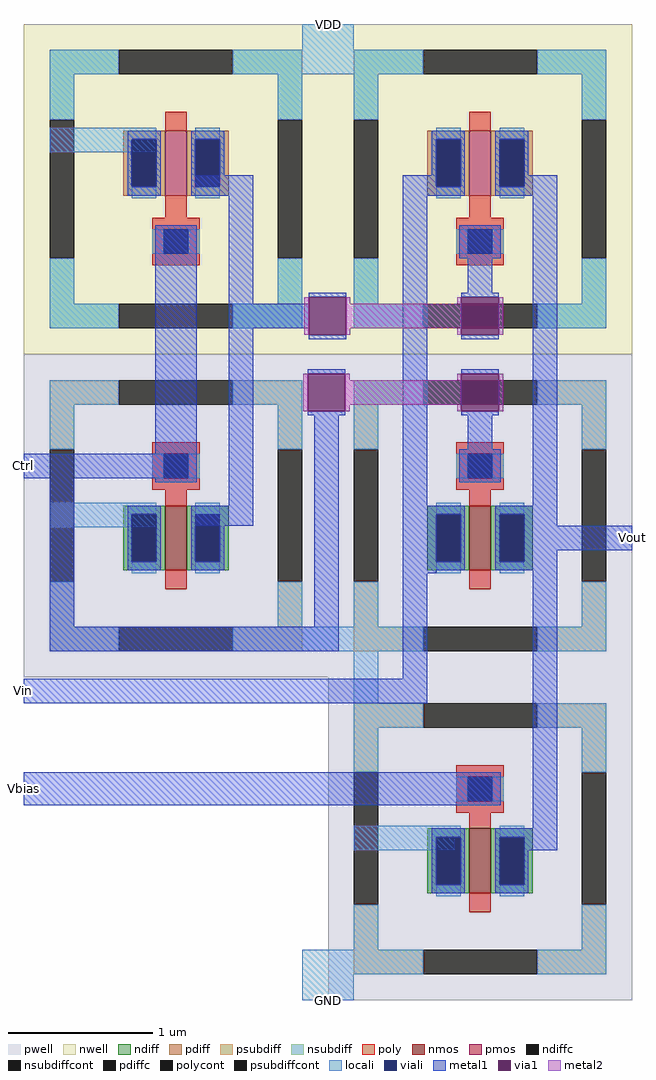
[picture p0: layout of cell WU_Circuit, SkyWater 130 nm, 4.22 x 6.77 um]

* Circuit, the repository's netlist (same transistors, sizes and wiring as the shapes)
** sch_path: /home/ricardo/RATT_repos/Proyectos_xschem/SNN/WU_Circuit.sch
**.subckt WU_Circuit GND VDD Vout Ctrl Vin Vbias
*.iopin GND
*.iopin VDD
*.opin Vout
*.ipin Ctrl
*.ipin Vin
*.ipin Vbias
XM1 Vout net1 Vin VDD sky130_fd_pr__pfet_01v8 L=0.15 W=0.45 nf=1 ad='int((nf+1)/2) * W/nf * 0.29' as='int((nf+2)/2) * W/nf * 0.29'
+ pd='2*int((nf+1)/2) * (W/nf + 0.29)' ps='2*int((nf+2)/2) * (W/nf + 0.29)' nrd='0.29 / W' nrs='0.29 / W'
+ sa=0 sb=0 sd=0 mult=1 m=1
XM2 Vin Ctrl Vout GND sky130_fd_pr__nfet_01v8 L=0.15 W=0.45 nf=1 ad='int((nf+1)/2) * W/nf * 0.29' as='int((nf+2)/2) * W/nf * 0.29'
+ pd='2*int((nf+1)/2) * (W/nf + 0.29)' ps='2*int((nf+2)/2) * (W/nf + 0.29)' nrd='0.29 / W' nrs='0.29 / W'
+ sa=0 sb=0 sd=0 mult=1 m=1
XM3 net1 Ctrl VDD VDD sky130_fd_pr__pfet_01v8 L=0.15 W=0.45 nf=1 ad='int((nf+1)/2) * W/nf * 0.29' as='int((nf+2)/2) * W/nf * 0.29'
+ pd='2*int((nf+1)/2) * (W/nf + 0.29)' ps='2*int((nf+2)/2) * (W/nf + 0.29)' nrd='0.29 / W' nrs='0.29 / W'
+ sa=0 sb=0 sd=0 mult=1 m=1
XM4 net1 Ctrl GND GND sky130_fd_pr__nfet_01v8 L=0.15 W=0.45 nf=1 ad='int((nf+1)/2) * W/nf * 0.29' as='int((nf+2)/2) * W/nf * 0.29'
+ pd='2*int((nf+1)/2) * (W/nf + 0.29)' ps='2*int((nf+2)/2) * (W/nf + 0.29)' nrd='0.29 / W' nrs='0.29 / W'
+ sa=0 sb=0 sd=0 mult=1 m=1
XM5 Vout Vbias GND GND sky130_fd_pr__nfet_01v8 L=0.15 W=0.45 nf=1 ad='int((nf+1)/2) * W/nf * 0.29' as='int((nf+2)/2) * W/nf * 0.29'
+ pd='2*int((nf+1)/2) * (W/nf + 0.29)' ps='2*int((nf+2)/2) * (W/nf + 0.29)' nrd='0.29 / W' nrs='0.29 / W'
+ sa=0 sb=0 sd=0 mult=1 m=1
**.ends
.end

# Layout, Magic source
magic
tech sky130A
magscale 1 2
<< locali >>
rect 236 1372 308 1408
rect 202 1338 342 1372
rect -114 1230 34 1264
rect -114 710 34 744
rect 202 538 342 572
rect 308 432 342 538
rect 308 262 448 296
rect 236 54 308 124
<< metal1 >>
rect 88 1170 168 1198
rect 32 812 90 1129
rect -150 778 90 812
rect -114 572 -80 778
rect 32 772 90 778
rect 134 1020 168 1170
rect 376 1170 422 1198
rect 544 1170 590 1198
rect 245 1029 297 1035
rect 134 986 245 1020
rect 134 740 168 986
rect 245 971 297 977
rect 244 923 296 929
rect 244 865 296 871
rect 88 712 168 740
rect 253 572 287 865
rect -114 538 287 572
rect 376 740 410 1170
rect 466 1035 500 1123
rect 457 1029 509 1035
rect 457 971 509 977
rect 457 923 509 929
rect 457 865 509 871
rect 466 778 500 865
rect 556 740 590 1170
rect 376 646 422 740
rect 544 712 590 740
rect 544 678 694 712
rect 544 650 590 678
rect 376 500 410 646
rect -150 466 410 500
rect -150 324 512 370
rect 556 292 590 650
rect 544 262 590 292
<< via1 >>
rect 245 977 297 1029
rect 244 871 296 923
rect 457 977 509 1029
rect 457 871 509 923
<< metal2 >>
rect 239 977 245 1029
rect 297 1020 303 1029
rect 451 1020 457 1029
rect 297 986 457 1020
rect 297 977 303 986
rect 451 977 457 986
rect 509 977 515 1029
rect 238 871 244 923
rect 296 914 302 923
rect 451 914 457 923
rect 296 880 457 914
rect 296 871 302 880
rect 451 871 457 880
rect 509 871 515 923
use sky130_fd_pr__nfet_01v8_DR7ETE  sky130_fd_pr__nfet_01v8_DR7ETE_0
transform 1 0 61 0 1 726
box -211 -224 211 224
use sky130_fd_pr__pfet_01v8_2779BZ  sky130_fd_pr__pfet_01v8_2779BZ_0
transform 1 0 61 0 1 1179
box -211 -229 211 229
use sky130_fd_pr__pfet_01v8_2779BZ  XM3
transform 1 0 483 0 1 1179
box -211 -229 211 229
use sky130_fd_pr__nfet_01v8_DR7ETE  XM4
transform -1 0 483 0 1 726
box -211 -224 211 224
use sky130_fd_pr__nfet_01v8_DR7ETE  XM5
transform 1 0 483 0 1 278
box -211 -224 211 224
<< labels >>
flabel metal1 s -150 324 -150 370 0 FreeSans 480 0 0 0 Vbias
port 4 nsew
flabel metal1 s -150 466 -150 500 0 FreeSans 480 0 0 0 Vin
port 5 nsew
flabel metal1 s -150 778 -150 812 0 FreeSans 480 0 0 0 Ctrl
port 6 nsew
flabel locali s 236 1408 308 1408 0 FreeSans 480 0 0 0 VDD
port 10 nsew
flabel locali s 236 54 308 54 0 FreeSans 480 0 0 0 GND
port 11 nsew
flabel metal1 s 694 678 694 712 0 FreeSans 480 0 0 0 Vout
port 12 nsew
<< end >>

# cell sky130_fd_pr__nfet_01v8_DR7ETE: kit device sky130_fd_pr__nfet_01v8, w 0.45 l 0.15 m 1 nf 1 diffcov 100 polycov 100 guard 1 glc 1 grc 1 gtc 1 gbc 1 tbcov 100 rlcov 100 topc 1 botc 0 poverlap 0 doverlap 1 lmin 0.15 wmin 0.42 compatible {sky130_fd_pr__nfet_01v8 sky130_fd_pr__nfet_01v8_lvt sky130_fd_bs_flash__special_sonosfet_star sky130_fd_pr__nfet_g5v0d10v5 sky130_fd_pr__nfet_05v0_nvt sky130_fd_pr__nfet_03v3_nvt} full_metal 1 viasrc 100 viadrn 100 viagate 100 viagb 0 viagr 0 viagl 0 viagt 0

# cell sky130_fd_pr__pfet_01v8_2779BZ: kit device sky130_fd_pr__pfet_01v8, w 0.45 l 0.15 m 1 nf 1 diffcov 100 polycov 100 guard 1 glc 1 grc 1 gtc 1 gbc 1 tbcov 100 rlcov 100 topc 0 botc 1 poverlap 0 doverlap 1 lmin 0.15 wmin 0.42 compatible {sky130_fd_pr__pfet_01v8 sky130_fd_pr__pfet_01v8_lvt sky130_fd_pr__pfet_01v8_hvt sky130_fd_pr__pfet_g5v0d10v5} full_metal 1 viasrc 100 viadrn 100 viagate 100 viagb 0 viagr 0 viagl 0 viagt 0
